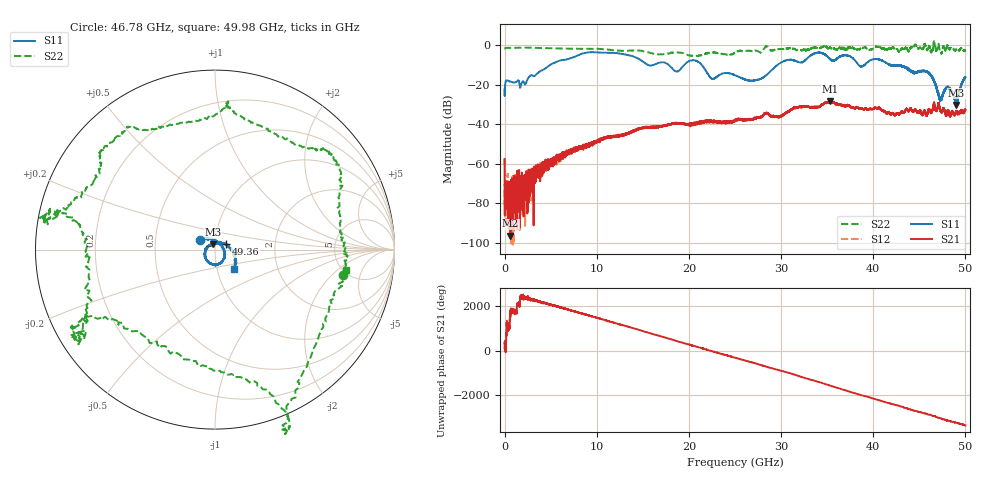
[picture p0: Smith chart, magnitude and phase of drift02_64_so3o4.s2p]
!Created with skrf (http://scikit-rf.org).
# Hz S RI R 50.0
!freq ReS11 ImS11 ReS21 ImS21 ReS12 ImS12 ReS22 ImS22
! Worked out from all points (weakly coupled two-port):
!   10001 points, 300 kHz to 50 GHz, reference 50 ohm
!   highest |S21| = -28.48 dB at 35.31 GHz (marker M1); lowest = -96.5 dB at 625.3 MHz (marker M2)
!   lowest |S11| = -30.3 dB at 49.02 GHz (marker M3), VSWR 1.06, Z = 48.8 + j2.78 ohm
!   |S11| at or under -10 dB: start of sweep to 4.957 GHz; 21.38 GHz to 29.62 GHz (8.237 GHz wide, 32.3 % of centre); 41.87 GHz to end of sweep (the widest 3 of 11)
!   |S22| runs from -5.7 to 2.3 dB; largest |S21 - S12| = 0.0029
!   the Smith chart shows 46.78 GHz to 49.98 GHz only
!   S11 on the Smith chart (normalised r, x): 46.78 GHz: 0.85, +0.09; 49.36 GHz: 1.13, +0.07; 49.98 GHz: 1.21, -0.26
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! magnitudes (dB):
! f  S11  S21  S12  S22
! 300 kHz  -22.3  -57.6  -57.4  -2.1
! 255.3 MHz  -17.9  -73.9  -74.1  -1.4
! 625.3 MHz  -18.5  -96.5  -86.0  -1.5
! 1.875 GHz  -19.1  -72.9  -69.9  -1.3
! 8.335 GHz  -4.5  -51.3  -52.5  -1.9
! 16.67 GHz  -9.1  -41.4  -41.3  -4.7
! 18.7 GHz  -13.5  -39.5  -39.5  -3.7
! 20.6 GHz  -7.7  -40.0  -39.5  -5.7
! 22.51 GHz  -17.1  -38.9  -38.5  -3.7
! 25 GHz  -15.3  -38.2  -38.3  -3.9
! 27.5 GHz  -17.5  -36.7  -36.5  -3.2
! 33.34 GHz  -4.9  -31.4  -31.3  -1.6
! 35.31 GHz  -7.1  -28.5  -28.8  -1.4
! 41.67 GHz  -9.6  -34.2  -34.2  -1.9
! 45.79 GHz  -13.5  -35.4  -35.5  -2.3
! 46.78 GHz  -20.4  -32.6  -33.1  -2.8
! 47.27 GHz  -27.4  -32.9  -32.8  -3.3
! 48.12 GHz  -21.5  -33.2  -33.0  -0.5
! 49.02 GHz  -30.3  -33.9  -33.6  -2.0
! 49.36 GHz  -23.4  -34.8  -34.5  -2.7
! 49.98 GHz  -16.5  -32.7  -32.7  -2.7
! 50 GHz  -16.3  -32.7  -32.5  -2.7
